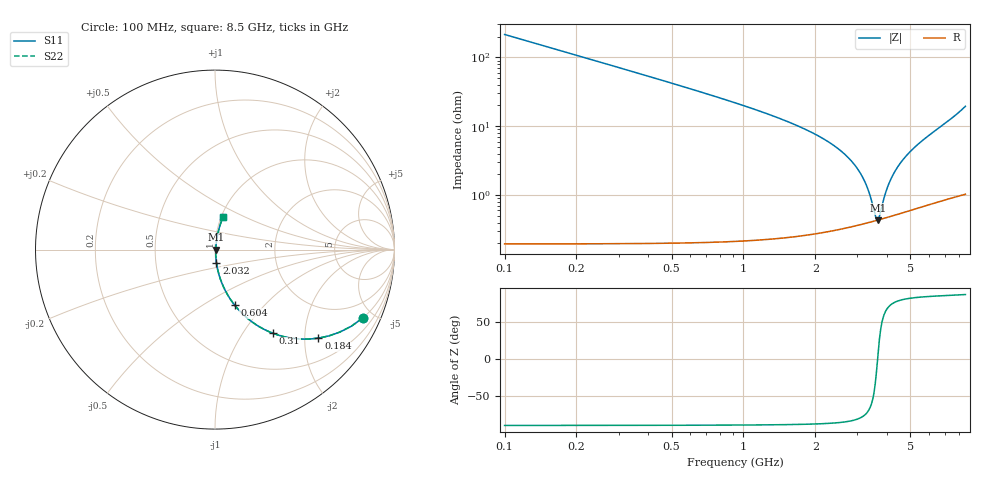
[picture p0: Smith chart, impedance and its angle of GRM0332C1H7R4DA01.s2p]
!Murata Part Number: GRM0332C1H7R4DA01
!These Parameters are Measured in Series Mode Connection
!Data Generated on Mar 30, 2021
!  o--ll--o
!Port1  Port2
!  o------o
!Operation Temp=25[degC], DC Bias Voltage=0[V]
!Freq. Start=100[MHz] Stop=9[GHz] 401[Steps]
# Hz S RI R 50
!Freq.(Hz) S11(Real) S11(Imag) S21(Real) S21(Imag) S12(Real) S12(Imag) S22(Real) S22(Imag)
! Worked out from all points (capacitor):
!   401 points, 100 MHz to 8.5 GHz, reference 50 ohm
!   read as one part in series: C = 7.4 pF near 142 MHz
!   lowest |Z| = 433 mohm at 3.649 GHz (marker M1)
!   series resonance near 3.646 GHz, so ESL is about 260 pH
!   S11 on the Smith chart (normalised r, x): 100 MHz: 1.00, -4.30; 184 MHz: 1.00, -2.33; 310 MHz: 1.00, -1.38; 604 MHz: 1.00, -0.69; 2.032 GHz: 1.01, -0.15; 8.5 GHz: 1.02, +0.39
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1e8  0.8218 -0.3822  0.1782 0.3822  0.1782 0.3822  0.8218 -0.3822
1.84e8  0.5761 -0.4933  0.4239 0.4933  0.4239 0.4933  0.5761 -0.4933
3.1e8  0.3224 -0.466  0.6776 0.466  0.6776 0.466  0.3224 -0.466
4.36e8  0.1924 -0.3922  0.8076 0.3922  0.8076 0.3922  0.1924 -0.3922
6.04e8  0.1088 -0.3084  0.8912 0.3084  0.8912 0.3084  0.1088 -0.3084
9.82e8  0.0418 -0.1949  0.9582 0.1949  0.9582 0.1949  0.0418 -0.1949
1.507e9  0.0163 -0.1171  0.9837 0.1171  0.9837 0.1171  0.0163 -0.1171
2.032e9  0.00817 -0.0733  0.9918 0.0733  0.9918 0.0733  0.00817 -0.0733
2.536e9  0.00516 -0.0445  0.9948 0.0445  0.9948 0.0445  0.00516 -0.0445
2.914e9  0.00428 -0.0273  0.9957 0.0273  0.9957 0.0273  0.00428 -0.0273
3.25e9  0.00407 -0.0141  0.9959 0.0141  0.9959 0.0141  0.00407 -0.0141
3.397e9  0.00411 -0.00867  0.9959 0.00867  0.9959 0.00867  0.00411 -0.00867
3.586e9  0.00425 -0.00203  0.9958 0.00203  0.9958 0.00203  0.00425 -0.00203
3.649e9  0.00431 0.000118  0.9957 -0.000118  0.9957 -0.000118  0.00431 0.000118
3.712e9  0.00439 0.00224  0.9956 -0.00224  0.9956 -0.00224  0.00439 0.00224
3.859e9  0.0046 0.00709  0.9954 -0.00709  0.9954 -0.00709  0.0046 0.00709
3.985e9  0.00483 0.0112  0.9952 -0.0112  0.9952 -0.0112  0.00483 0.0112
4.3e9  0.00552 0.021  0.9945 -0.021  0.9945 -0.021  0.00552 0.021
4.867e9  0.00724 0.0381  0.9928 -0.0381  0.9928 -0.0381  0.00724 0.0381
5.707e9  0.0109 0.0633  0.9891 -0.0633  0.9891 -0.0633  0.0109 0.0633
7.114e9  0.0214 0.1119  0.9786 -0.1119  0.9786 -0.1119  0.0214 0.1119
8.5e9  0.0456 0.1838  0.9544 -0.1838  0.9544 -0.1838  0.0456 0.1838
